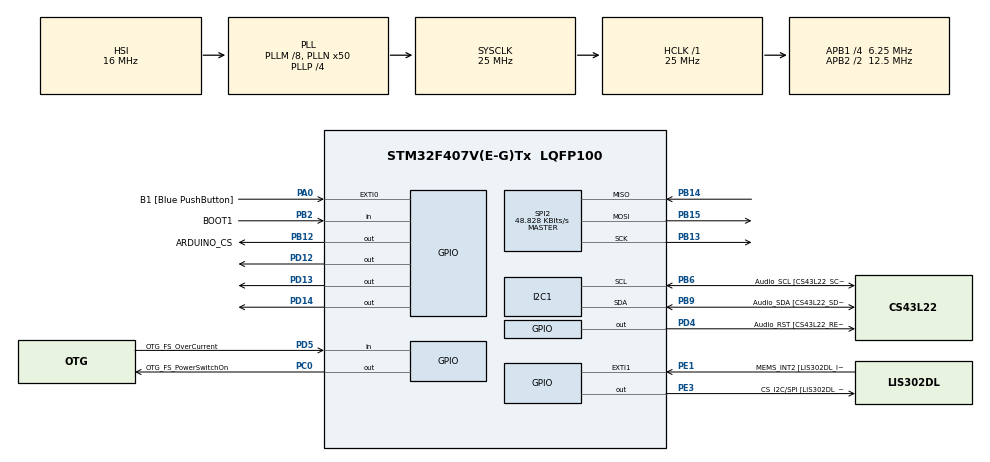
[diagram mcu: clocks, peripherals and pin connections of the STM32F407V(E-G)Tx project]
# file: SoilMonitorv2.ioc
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Mcu.Family=STM32F4
Mcu.Name=STM32F407V(E-G)Tx
Mcu.Package=LQFP100
NVIC.PriorityGroup=NVIC_PRIORITYGROUP_0
NVIC.SPI2_IRQn=true\:0\:0\:false\:false\:true\:true\:true\:true
PA0-WKUP.GPIO_Label=B1 [Blue PushButton]
PA0-WKUP.Signal=GPXTI0
PA10.GPIO_Label=OTG_FS_ID
PA10.GPIO_Mode=GPIO_MODE_AF_PP
PA10.GPIO_PuPd=GPIO_NOPULL
PA10.GPIO_Speed=GPIO_SPEED_FREQ_LOW
PA10.Signal=USB_OTG_FS_ID
PA11.GPIO_Label=OTG_FS_DM
PA11.GPIO_Mode=GPIO_MODE_AF_PP
PA11.GPIO_PuPd=GPIO_NOPULL
PA11.GPIO_Speed=GPIO_SPEED_FREQ_LOW
PA11.Signal=USB_OTG_FS_DM
PA12.GPIO_Label=OTG_FS_DP
PA12.GPIO_Mode=GPIO_MODE_AF_PP
PA12.GPIO_PuPd=GPIO_NOPULL
PA12.GPIO_Speed=GPIO_SPEED_FREQ_LOW
PA12.Signal=USB_OTG_FS_DP
PA13.GPIO_Label=SWDIO
PA13.Signal=SYS_JTMS-SWDIO
PA14.GPIO_Label=SWCLK
PA14.Signal=SYS_JTCK-SWCLK
PA4.GPIO_Label=I2S3_WS [CS43L22_LRCK]
PA4.GPIO_Mode=GPIO_MODE_AF_PP
PA4.GPIO_PuPd=GPIO_NOPULL
PA4.GPIO_Speed=GPIO_SPEED_FREQ_LOW
PA4.Signal=I2S3_WS
PA5.GPIO_Label=SPI1_SCK [LIS302DL_SCL/SPC]
PA5.GPIO_Mode=GPIO_MODE_AF_PP
PA5.GPIO_PuPd=GPIO_NOPULL
PA5.GPIO_Speed=GPIO_SPEED_FREQ_LOW
PA5.Signal=SPI1_SCK
PA6.GPIO_Label=SPI1_MISO [LIS302DL_SDO]
PA6.GPIO_Mode=GPIO_MODE_AF_PP
PA6.GPIO_PuPd=GPIO_NOPULL
PA6.GPIO_Speed=GPIO_SPEED_FREQ_LOW
PA6.Signal=SPI1_MISO
PA7.GPIO_Label=SPI1_MOSI [LIS302DL_SDA/SDI/SDO]
PA7.GPIO_Mode=GPIO_MODE_AF_PP
PA7.GPIO_PuPd=GPIO_NOPULL
PA7.GPIO_Speed=GPIO_SPEED_FREQ_LOW
PA7.Signal=SPI1_MOSI
PA9.GPIO_Label=VBUS_FS
PA9.GPIO_Mode=GPIO_MODE_INPUT
PA9.GPIO_PuPd=GPIO_NOPULL
PA9.Signal=USB_OTG_FS_VBUS
PB10.GPIO_Label=CLK_IN [MP45DT02_CLK]
PB10.GPIO_Mode=GPIO_MODE_AF_PP
PB10.GPIO_PuPd=GPIO_NOPULL
PB10.GPIO_Speed=GPIO_SPEED_FREQ_LOW
PB10.Signal=I2S2_CK
PB12.GPIO_Label=ARDUINO_CS
PB12.GPIO_ModeDefaultOutputPP=GPIO_MODE_OUTPUT_PP
PB12.GPIO_PuPd=GPIO_NOPULL
PB12.PinState=GPIO_PIN_SET
PB12.Signal=GPIO_Output
PB13.Mode=Full_Duplex_Master
PB13.Signal=SPI2_SCK
PB14.Mode=Full_Duplex_Master
PB14.Signal=SPI2_MISO
PB15.Mode=Full_Duplex_Master
PB15.Signal=SPI2_MOSI
PB2.GPIO_Label=BOOT1
PB2.GPIO_Mode=GPIO_MODE_INPUT
PB2.GPIO_PuPd=GPIO_PULLUP
PB2.Signal=GPIO_Input
PB3.GPIO_Label=SWO
PB3.Signal=SYS_JTDO-SWO
PB6.GPIO_Label=Audio_SCL [CS43L22_SCL]
PB6.GPIO_Mode=GPIO_MODE_AF_OD
PB6.GPIO_Pu=GPIO_PULLUP
PB6.GPIO_PuPd=GPIO_NOPULL
PB6.GPIO_Speed=GPIO_SPEED_FREQ_LOW
PB6.Mode=I2C
PB6.Signal=I2C1_SCL
PB9.GPIO_Label=Audio_SDA [CS43L22_SDA]
PB9.GPIO_Mode=GPIO_MODE_AF_OD
PB9.GPIO_Pu=GPIO_PULLUP
PB9.GPIO_PuPd=GPIO_NOPULL
PB9.GPIO_Speed=GPIO_SPEED_FREQ_LOW
PB9.Mode=I2C
PB9.Signal=I2C1_SDA
PC0.GPIO_Label=OTG_FS_PowerSwitchOn
PC0.GPIO_PuPd=GPIO_NOPULL
PC0.GPIO_Speed=GPIO_SPEED_FREQ_LOW
PC0.PinState=GPIO_PIN_SET
PC0.Signal=GPIO_Output
PC10.GPIO_Label=I2S3_SCK [CS43L22_SCLK]
PC10.GPIO_Mode=GPIO_MODE_AF_PP
PC10.GPIO_PuPd=GPIO_NOPULL
PC10.GPIO_Speed=GPIO_SPEED_FREQ_LOW
PC10.Signal=I2S3_CK
PC12.GPIO_Label=I2S3_SD [CS43L22_SDIN]
PC12.GPIO_Mode=GPIO_MODE_AF_PP
PC12.GPIO_PuPd=GPIO_NOPULL
PC12.GPIO_Speed=GPIO_SPEED_FREQ_LOW
PC12.Signal=I2S3_SD
PC14-OSC32_IN.GPIO_Label=PC14-OSC32_IN
PC14-OSC32_IN.Signal=RCC_OSC32_IN
PC15-OSC32_OUT.GPIO_Label=PC15-OSC32_OUT
PC15-OSC32_OUT.Signal=RCC_OSC32_OUT
PC3.GPIO_Label=PDM_OUT [MP45DT02_DOUT]
PC3.GPIO_Mode=GPIO_MODE_AF_PP
PC3.GPIO_PuPd=GPIO_NOPULL
PC3.GPIO_Speed=GPIO_SPEED_FREQ_LOW
PC3.Signal=I2S2_SD
PC7.GPIO_Label=I2S3_MCK [CS43L22_MCLK]
PC7.GPIO_Mode=GPIO_MODE_AF_PP
PC7.GPIO_PuPd=GPIO_NOPULL
PC7.GPIO_Speed=GPIO_SPEED_FREQ_LOW
PC7.Signal=I2S3_MCK
PD12.Signal=GPIO_Output
PD13.Signal=GPIO_Output
PD14.Signal=GPIO_Output
PD4.GPIO_Label=Audio_RST [CS43L22_RESET]
PD4.GPIO_PuPd=GPIO_NOPULL
PD4.GPIO_Speed=GPIO_SPEED_FREQ_LOW
PD4.Signal=GPIO_Output
PD5.GPIO_Label=OTG_FS_OverCurrent
PD5.GPIO_Mode=GPIO_MODE_INPUT
PD5.GPIO_PuPd=GPIO_NOPULL
PD5.Signal=GPIO_Input
PE1.GPIO_Label=MEMS_INT2 [LIS302DL_INT2]
PE1.GPIO_ModeDefaultEXTI=GPIO_MODE_EVT_RISING
PE1.GPIO_PuPd=GPIO_NOPULL
PE1.Signal=GPXTI1
PE3.GPIO_Label=CS_I2C/SPI [LIS302DL_CS_I2C/SPI]
PE3.GPIO_PuPd=GPIO_NOPULL
PE3.GPIO_Speed=GPIO_SPEED_FREQ_LOW
PE3.Signal=GPIO_Output
PH0-OSC_IN.GPIO_Label=PH0-OSC_IN
PH0-OSC_IN.Signal=RCC_OSC_IN
PH1-OSC_OUT.GPIO_Label=PH1-OSC_OUT
PH1-OSC_OUT.Signal=RCC_OSC_OUT
ProjectManager.HeapSize=0x200
ProjectManager.StackSize=0x400
ProjectManager.TargetToolchain=STM32CubeIDE
RCC.48MHZClocksFreq_Value=14285714.285714285
RCC.AHBFreq_Value=25000000
RCC.APB1CLKDivider=RCC_HCLK_DIV4
RCC.APB1Freq_Value=6250000
RCC.APB1TimFreq_Value=12500000
RCC.APB2CLKDivider=RCC_HCLK_DIV2
RCC.APB2Freq_Value=12500000
RCC.APB2TimFreq_Value=25000000
RCC.CortexFreq_Value=25000000
RCC.HCLKFreq_Value=25000000
RCC.HSE_VALUE=8000000
RCC.HSI_VALUE=16000000
RCC.LSE_VALUE=32768
RCC.PLLM=8
RCC.PLLN=50
RCC.PLLP=RCC_PLLP_DIV4
RCC.PLLQ=7
RCC.SYSCLKFreq_VALUE=25000000
RCC.SYSCLKSource=RCC_SYSCLKSOURCE_PLLCLK
RCC.VCOOutputFreq_Value=100000000
SPI2.BaudRatePrescaler=SPI_BAUDRATEPRESCALER_128
SPI2.CalculateBaudRate=48.828 KBits/s
SPI2.Direction=SPI_DIRECTION_2LINES
SPI2.Mode=SPI_MODE_MASTER
SPI2.VirtualType=VM_MASTER
board=STM32F407G-DISC1

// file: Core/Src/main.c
/* USER CODE BEGIN Header */
/**
  ******************************************************************************
  * @file           : main.c
  * @brief          : Main program body
  ******************************************************************************
  * @attention
  *
  * Copyright (c) 2026 STMicroelectronics.
  * All rights reserved.
  *
  * This software is licensed under terms that can be found in the LICENSE file
  * in the root directory of this software component.
  * If no LICENSE file comes with this software, it is provided AS-IS.
  *
  ******************************************************************************
  */
/* USER CODE END Header */
#include "main.h"

/* USER CODE BEGIN Includes */
#include "soil_spi.h"
#include "soil_alarm.h"
#include "lcd_i2c.h"
#include <stdio.h>
/* USER CODE END Includes */

I2C_HandleTypeDef hi2c1;

SPI_HandleTypeDef hspi2;

void SystemClock_Config(void);
static void MX_GPIO_Init(void);
static void MX_SPI2_Init(void);
static void MX_I2C1_Init(void);

int main(void)
{

  /* MCU Configuration--------------------------------------------------------*/

  /* Reset of all peripherals, Initializes the Flash interface and the Systick. */
  HAL_Init();

  /* Configure the system clock */
  SystemClock_Config();

  /* Initialize all configured peripherals */
  MX_GPIO_Init();
  MX_SPI2_Init();
  MX_I2C1_Init();
  /* USER CODE BEGIN 2 */
  SoilSPI_Init(&hspi2);
  SoilAlarm_Init();

  HAL_StatusTypeDef lcdStatus = LCD_Init(&hi2c1, 0x27);
  uint8_t lcdReady = (lcdStatus == HAL_OK);

  uint32_t lastLcdUpdate = HAL_GetTick();
  char lcdLine[17];
  /* USER CODE END 2 */

  /* Infinite loop */
  while (1)
  {

      /* USER CODE BEGIN 3 */
      SoilSPI_Process();

      SoilData_t reading = SoilSPI_GetData();
      SoilAlarm_Update(reading);

      uint32_t now = HAL_GetTick();

      /* Cập nhật LCD mỗi 500 ms. */
      if (lcdReady &&
          (uint32_t)(now - lastLcdUpdate) >= 500U)
      {
          lastLcdUpdate = now;

          /* Dòng 1: nhiệt độ. */
          if (reading.valid)
          {
              snprintf(lcdLine, sizeof(lcdLine),
                       "Temp: %3d C     ",
                       (int)reading.temperature);
          }
          else
          {
              snprintf(lcdLine, sizeof(lcdLine),
                       "Temp: --- C     ");
          }

          lcdStatus = LCD_SetCursor(0, 0);

          if (lcdStatus == HAL_OK)
          {
              lcdStatus = LCD_WriteString(lcdLine);
          }

          /* Dòng 2: độ ẩm. */
          if (reading.valid)
          {
              snprintf(lcdLine, sizeof(lcdLine),
                       "Moist: %3d%%     ",
                       (int)reading.moisture);
          }
          else
          {
              snprintf(lcdLine, sizeof(lcdLine),
                       "Moist: ---%%     ");
          }

          if (lcdStatus == HAL_OK)
          {
              lcdStatus = LCD_SetCursor(1, 0);
          }

          if (lcdStatus == HAL_OK)
          {
              lcdStatus = LCD_WriteString(lcdLine);
          }
      }
  }
  /* USER CODE END 3 */
}

void SystemClock_Config(void)
{
  RCC_OscInitTypeDef RCC_OscInitStruct = {0};
  RCC_ClkInitTypeDef RCC_ClkInitStruct = {0};

  /** Configure the main internal regulator output voltage
  */
  __HAL_RCC_PWR_CLK_ENABLE();
  __HAL_PWR_VOLTAGESCALING_CONFIG(PWR_REGULATOR_VOLTAGE_SCALE1);

  /** Initializes the RCC Oscillators according to the specified parameters
  * in the RCC_OscInitTypeDef structure.
  */
  RCC_OscInitStruct.OscillatorType = RCC_OSCILLATORTYPE_HSI;
  RCC_OscInitStruct.HSIState = RCC_HSI_ON;
  RCC_OscInitStruct.HSICalibrationValue = RCC_HSICALIBRATION_DEFAULT;
  RCC_OscInitStruct.PLL.PLLState = RCC_PLL_ON;
  RCC_OscInitStruct.PLL.PLLSource = RCC_PLLSOURCE_HSI;
  RCC_OscInitStruct.PLL.PLLM = 8;
  RCC_OscInitStruct.PLL.PLLN = 50;
  RCC_OscInitStruct.PLL.PLLP = RCC_PLLP_DIV4;
  RCC_OscInitStruct.PLL.PLLQ = 7;
  if (HAL_RCC_OscConfig(&RCC_OscInitStruct) != HAL_OK)
  {
    Error_Handler();
  }

  /** Initializes the CPU, AHB and APB buses clocks
  */
  RCC_ClkInitStruct.ClockType = RCC_CLOCKTYPE_HCLK|RCC_CLOCKTYPE_SYSCLK
                              |RCC_CLOCKTYPE_PCLK1|RCC_CLOCKTYPE_PCLK2;
  RCC_ClkInitStruct.SYSCLKSource = RCC_SYSCLKSOURCE_PLLCLK;
  RCC_ClkInitStruct.AHBCLKDivider = RCC_SYSCLK_DIV1;
  RCC_ClkInitStruct.APB1CLKDivider = RCC_HCLK_DIV4;
  RCC_ClkInitStruct.APB2CLKDivider = RCC_HCLK_DIV2;

  if (HAL_RCC_ClockConfig(&RCC_ClkInitStruct, FLASH_LATENCY_0) != HAL_OK)
  {
    Error_Handler();
  }
}

static void MX_I2C1_Init(void)
{

  hi2c1.Instance = I2C1;
  hi2c1.Init.ClockSpeed = 100000;
  hi2c1.Init.DutyCycle = I2C_DUTYCYCLE_2;
  hi2c1.Init.OwnAddress1 = 0;
  hi2c1.Init.AddressingMode = I2C_ADDRESSINGMODE_7BIT;
  hi2c1.Init.DualAddressMode = I2C_DUALADDRESS_DISABLE;
  hi2c1.Init.OwnAddress2 = 0;
  hi2c1.Init.GeneralCallMode = I2C_GENERALCALL_DISABLE;
  hi2c1.Init.NoStretchMode = I2C_NOSTRETCH_DISABLE;
  if (HAL_I2C_Init(&hi2c1) != HAL_OK)
  {
    Error_Handler();
  }

}

static void MX_SPI2_Init(void)
{

  /* SPI2 parameter configuration*/
  hspi2.Instance = SPI2;
  hspi2.Init.Mode = SPI_MODE_MASTER;
  hspi2.Init.Direction = SPI_DIRECTION_2LINES;
  hspi2.Init.DataSize = SPI_DATASIZE_8BIT;
  hspi2.Init.CLKPolarity = SPI_POLARITY_LOW;
  hspi2.Init.CLKPhase = SPI_PHASE_1EDGE;
  hspi2.Init.NSS = SPI_NSS_SOFT;
  hspi2.Init.BaudRatePrescaler = SPI_BAUDRATEPRESCALER_128;
  hspi2.Init.FirstBit = SPI_FIRSTBIT_MSB;
  hspi2.Init.TIMode = SPI_TIMODE_DISABLE;
  hspi2.Init.CRCCalculation = SPI_CRCCALCULATION_DISABLE;
  hspi2.Init.CRCPolynomial = 10;
  if (HAL_SPI_Init(&hspi2) != HAL_OK)
  {
    Error_Handler();
  }

}

static void MX_GPIO_Init(void)
{
  GPIO_InitTypeDef GPIO_InitStruct = {0};

  /* GPIO Ports Clock Enable */
  __HAL_RCC_GPIOE_CLK_ENABLE();
  __HAL_RCC_GPIOC_CLK_ENABLE();
  __HAL_RCC_GPIOH_CLK_ENABLE();
  __HAL_RCC_GPIOA_CLK_ENABLE();
  __HAL_RCC_GPIOB_CLK_ENABLE();
  __HAL_RCC_GPIOD_CLK_ENABLE();

  /*Configure GPIO pin Output Level */
  HAL_GPIO_WritePin(CS_I2C_SPI_GPIO_Port, CS_I2C_SPI_Pin, GPIO_PIN_RESET);

  /*Configure GPIO pin Output Level */
  HAL_GPIO_WritePin(OTG_FS_PowerSwitchOn_GPIO_Port, OTG_FS_PowerSwitchOn_Pin, GPIO_PIN_SET);

  /*Configure GPIO pin Output Level */
  HAL_GPIO_WritePin(ARDUINO_CS_GPIO_Port, ARDUINO_CS_Pin, GPIO_PIN_SET);

  /*Configure GPIO pin Output Level */
  HAL_GPIO_WritePin(GPIOD, GPIO_PIN_12|GPIO_PIN_13|GPIO_PIN_14|Audio_RST_Pin, GPIO_PIN_RESET);

  /*Configure GPIO pin : CS_I2C_SPI_Pin */
  GPIO_InitStruct.Pin = CS_I2C_SPI_Pin;
  GPIO_InitStruct.Mode = GPIO_MODE_OUTPUT_PP;
  GPIO_InitStruct.Pull = GPIO_NOPULL;
  GPIO_InitStruct.Speed = GPIO_SPEED_FREQ_LOW;
  HAL_GPIO_Init(CS_I2C_SPI_GPIO_Port, &GPIO_InitStruct);

  /*Configure GPIO pin : OTG_FS_PowerSwitchOn_Pin */
  GPIO_InitStruct.Pin = OTG_FS_PowerSwitchOn_Pin;
  GPIO_InitStruct.Mode = GPIO_MODE_OUTPUT_PP;
  GPIO_InitStruct.Pull = GPIO_NOPULL;
  GPIO_InitStruct.Speed = GPIO_SPEED_FREQ_LOW;
  HAL_GPIO_Init(OTG_FS_PowerSwitchOn_GPIO_Port, &GPIO_InitStruct);

  /*Configure GPIO pin : PDM_OUT_Pin */
  GPIO_InitStruct.Pin = PDM_OUT_Pin;
  GPIO_InitStruct.Mode = GPIO_MODE_AF_PP;
  GPIO_InitStruct.Pull = GPIO_NOPULL;
  GPIO_InitStruct.Speed = GPIO_SPEED_FREQ_LOW;
  GPIO_InitStruct.Alternate = GPIO_AF5_SPI2;
  HAL_GPIO_Init(PDM_OUT_GPIO_Port, &GPIO_InitStruct);

  /*Configure GPIO pin : B1_Pin */
  GPIO_InitStruct.Pin = B1_Pin;
  GPIO_InitStruct.Mode = GPIO_MODE_IT_RISING;
  GPIO_InitStruct.Pull = GPIO_NOPULL;
  HAL_GPIO_Init(B1_GPIO_Port, &GPIO_InitStruct);

  /*Configure GPIO pin : I2S3_WS_Pin */
  GPIO_InitStruct.Pin = I2S3_WS_Pin;
  GPIO_InitStruct.Mode = GPIO_MODE_AF_PP;
  GPIO_InitStruct.Pull = GPIO_NOPULL;
  GPIO_InitStruct.Speed = GPIO_SPEED_FREQ_LOW;
  GPIO_InitStruct.Alternate = GPIO_AF6_SPI3;
  HAL_GPIO_Init(I2S3_WS_GPIO_Port, &GPIO_InitStruct);

  /*Configure GPIO pins : SPI1_SCK_Pin SPI1_MISO_Pin SPI1_MOSI_Pin */
  GPIO_InitStruct.Pin = SPI1_SCK_Pin|SPI1_MISO_Pin|SPI1_MOSI_Pin;
  GPIO_InitStruct.Mode = GPIO_MODE_AF_PP;
  GPIO_InitStruct.Pull = GPIO_NOPULL;
  GPIO_InitStruct.Speed = GPIO_SPEED_FREQ_LOW;
  GPIO_InitStruct.Alternate = GPIO_AF5_SPI1;
  HAL_GPIO_Init(GPIOA, &GPIO_InitStruct);

  /*Configure GPIO pin : BOOT1_Pin */
  GPIO_InitStruct.Pin = BOOT1_Pin;
  GPIO_InitStruct.Mode = GPIO_MODE_INPUT;
  GPIO_InitStruct.Pull = GPIO_PULLUP;
  HAL_GPIO_Init(BOOT1_GPIO_Port, &GPIO_InitStruct);

  /*Configure GPIO pin : CLK_IN_Pin */
  GPIO_InitStruct.Pin = CLK_IN_Pin;
  GPIO_InitStruct.Mode = GPIO_MODE_AF_PP;
  GPIO_InitStruct.Pull = GPIO_NOPULL;
  GPIO_InitStruct.Speed = GPIO_SPEED_FREQ_LOW;
  GPIO_InitStruct.Alternate = GPIO_AF5_SPI2;
  HAL_GPIO_Init(CLK_IN_GPIO_Port, &GPIO_InitStruct);

  /*Configure GPIO pin : ARDUINO_CS_Pin */
  GPIO_InitStruct.Pin = ARDUINO_CS_Pin;
  GPIO_InitStruct.Mode = GPIO_MODE_OUTPUT_PP;
  GPIO_InitStruct.Pull = GPIO_NOPULL;
  GPIO_InitStruct.Speed = GPIO_SPEED_FREQ_LOW;
  HAL_GPIO_Init(ARDUINO_CS_GPIO_Port, &GPIO_InitStruct);

  /*Configure GPIO pins : PD12 PD13 PD14 Audio_RST_Pin */
  GPIO_InitStruct.Pin = GPIO_PIN_12|GPIO_PIN_13|GPIO_PIN_14|Audio_RST_Pin;
  GPIO_InitStruct.Mode = GPIO_MODE_OUTPUT_PP;
  GPIO_InitStruct.Pull = GPIO_NOPULL;
  GPIO_InitStruct.Speed = GPIO_SPEED_FREQ_LOW;
  HAL_GPIO_Init(GPIOD, &GPIO_InitStruct);

  /*Configure GPIO pins : I2S3_MCK_Pin I2S3_SCK_Pin I2S3_SD_Pin */
  GPIO_InitStruct.Pin = I2S3_MCK_Pin|I2S3_SCK_Pin|I2S3_SD_Pin;
  GPIO_InitStruct.Mode = GPIO_MODE_AF_PP;
  GPIO_InitStruct.Pull = GPIO_NOPULL;
  GPIO_InitStruct.Speed = GPIO_SPEED_FREQ_LOW;
  GPIO_InitStruct.Alternate = GPIO_AF6_SPI3;
  HAL_GPIO_Init(GPIOC, &GPIO_InitStruct);

  /*Configure GPIO pin : VBUS_FS_Pin */
  GPIO_InitStruct.Pin = VBUS_FS_Pin;
  GPIO_InitStruct.Mode = GPIO_MODE_INPUT;
  GPIO_InitStruct.Pull = GPIO_NOPULL;
  HAL_GPIO_Init(VBUS_FS_GPIO_Port, &GPIO_InitStruct);

  /*Configure GPIO pins : OTG_FS_ID_Pin OTG_FS_DM_Pin OTG_FS_DP_Pin */
  GPIO_InitStruct.Pin = OTG_FS_ID_Pin|OTG_FS_DM_Pin|OTG_FS_DP_Pin;
  GPIO_InitStruct.Mode = GPIO_MODE_AF_PP;
  GPIO_InitStruct.Pull = GPIO_NOPULL;
  GPIO_InitStruct.Speed = GPIO_SPEED_FREQ_LOW;
  GPIO_InitStruct.Alternate = GPIO_AF10_OTG_FS;
  HAL_GPIO_Init(GPIOA, &GPIO_InitStruct);

  /*Configure GPIO pin : OTG_FS_OverCurrent_Pin */
  GPIO_InitStruct.Pin = OTG_FS_OverCurrent_Pin;
  GPIO_InitStruct.Mode = GPIO_MODE_INPUT;
  GPIO_InitStruct.Pull = GPIO_NOPULL;
  HAL_GPIO_Init(OTG_FS_OverCurrent_GPIO_Port, &GPIO_InitStruct);

  /*Configure GPIO pin : MEMS_INT2_Pin */
  GPIO_InitStruct.Pin = MEMS_INT2_Pin;
  GPIO_InitStruct.Mode = GPIO_MODE_EVT_RISING;
  GPIO_InitStruct.Pull = GPIO_NOPULL;
  HAL_GPIO_Init(MEMS_INT2_GPIO_Port, &GPIO_InitStruct);

}

void Error_Handler(void)
{
  __disable_irq();
  while (1)
  {
  }
}
